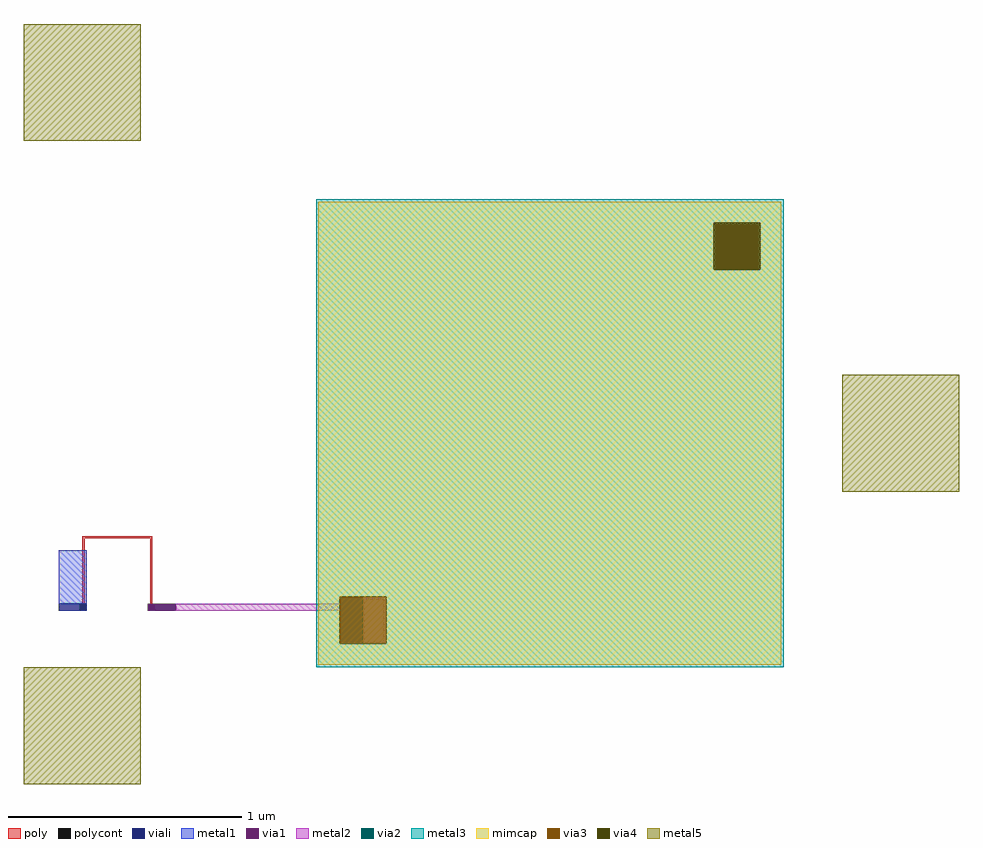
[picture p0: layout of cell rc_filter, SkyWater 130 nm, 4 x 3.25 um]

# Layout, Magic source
magic
tech sky130A
<< poly >>
rect 50 130 80 131
rect 50 102 51 130
rect 79 102 80 130
<< polycont >>
rect 49 99 52 102
rect 78 99 81 102
<< viali >>
rect 40 99 49 102
rect 49 99 52 102
rect 78 99 81 102
rect 81 99 90 102
<< metal1 >>
rect 40 102 52 125
<< via1 >>
rect 78 99 90 102
<< metal2 >>
rect 90 99 160 102
<< via2 >>
rect 160 85 170 105
<< metal3 >>
rect 150 265 350 275
rect 150 245 320 265
rect 340 245 350 265
rect 150 105 350 245
rect 150 85 160 105
rect 180 85 350 105
rect 150 75 350 85
<< via3 >>
rect 320 245 340 265
rect 160 85 170 105
rect 170 85 180 105
<< mimcap >>
rect 151 76 349 274
<< via4 >>
rect 320 245 340 265
<< metal5 >>
rect 25 300 75 350
rect 375 150 425 200
rect 25 25 75 75
<< end >>
